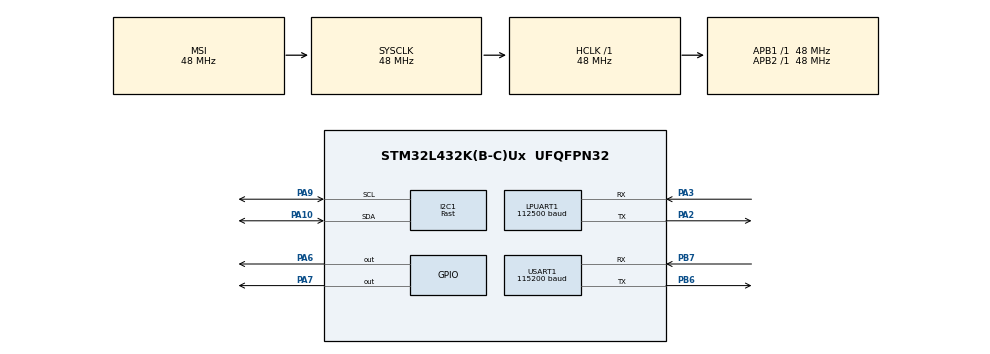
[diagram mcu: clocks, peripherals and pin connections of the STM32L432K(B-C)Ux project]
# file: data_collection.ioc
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I2C1.I2C_Speed_Mode=I2C_Fast
I2C1.Timing=0x2010091A
LPUART1.BaudRate=112500
LPUART1.WordLength=UART_WORDLENGTH_8B
Mcu.Family=STM32L4
Mcu.Name=STM32L432K(B-C)Ux
Mcu.Package=UFQFPN32
NVIC.LPUART1_IRQn=true\:0\:0\:false\:true\:true\:1\:true\:true
NVIC.PriorityGroup=NVIC_PRIORITYGROUP_4
PA0.GPIO_Label=MCO
PA0.Signal=RCC_CK_IN
PA10.Mode=I2C
PA10.Signal=I2C1_SDA
PA13\ (JTMS-SWDIO).GPIO_Label=SWDIO
PA13\ (JTMS-SWDIO).Mode=Serial_Wire
PA13\ (JTMS-SWDIO).Signal=SYS_JTMS-SWDIO
PA14\ (JTCK-SWCLK).GPIO_Label=SWCLK
PA14\ (JTCK-SWCLK).Mode=Serial_Wire
PA14\ (JTCK-SWCLK).Signal=SYS_JTCK-SWCLK
PA2.Mode=Asynchronous
PA2.Signal=LPUART1_TX
PA3.Mode=Asynchronous
PA3.Signal=LPUART1_RX
PA6.GPIO_PuPd=GPIO_PULLDOWN
PA6.PinState=GPIO_PIN_RESET
PA6.Signal=GPIO_Output
PA7.GPIO_PuPd=GPIO_PULLDOWN
PA7.PinState=GPIO_PIN_RESET
PA7.Signal=GPIO_Output
PA9.Mode=I2C
PA9.Signal=I2C1_SCL
PB6.Mode=Asynchronous
PB6.Signal=USART1_TX
PB7.Mode=Asynchronous
PB7.Signal=USART1_RX
ProjectManager.HeapSize=0x200
ProjectManager.StackSize=0x400
ProjectManager.TargetToolchain=STM32CubeIDE
RCC.ADCFreq_Value=48000000
RCC.AHBFreq_Value=48000000
RCC.APB1Freq_Value=48000000
RCC.APB1TimFreq_Value=48000000
RCC.APB2Freq_Value=48000000
RCC.APB2TimFreq_Value=48000000
RCC.CK48CLockSelection=RCC_USBCLKSOURCE_MSI
RCC.CortexFreq_Value=48000000
RCC.HCLKFreq_Value=48000000
RCC.HSE_VALUE=8000000
RCC.HSI48_VALUE=48000000
RCC.HSI_VALUE=16000000
RCC.LPTIM1CLockSelection=RCC_LPTIM1CLKSOURCE_LSE
RCC.LSE_VALUE=32768
RCC.MSIClockRange=RCC_MSIRANGE_11
RCC.MSI_VALUE=48000000
RCC.PLLM=8
RCC.PLLQ=RCC_PLLQ_DIV4
RCC.PLLSAI1N=16
RCC.PLLSAI1Q=RCC_PLLQ_DIV4
RCC.RTCClockSelection=RCC_RTCCLKSOURCE_LSE
RCC.SYSCLKFreq_VALUE=48000000
RCC.USBFreq_Value=48000000
RCC.VCOOutputFreq_Value=48000000
USART1.BaudRate=115200
USART1.VirtualMode-Asynchronous=VM_ASYNC
VP_TIM1_VS_ClockSourceINT.Mode=Internal
VP_TIM2_VS_ClockSourceINT.Mode=Internal
board=custom

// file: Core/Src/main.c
/* USER CODE BEGIN Header */
/**
  ******************************************************************************
  * @file           : main.c
  * @brief          : Main program body
  ******************************************************************************
  * @attention
  *
  * Copyright (c) 2022 STMicroelectronics.
  * All rights reserved.
  *
  * This software is licensed under terms that can be found in the LICENSE file
  * in the root directory of this software component.
  * If no LICENSE file comes with this software, it is provided AS-IS.
  *
  ******************************************************************************
  */
/* USER CODE END Header */
#include "main.h"

/* USER CODE BEGIN Includes */
#include <stdio.h>
#include <string.h>
#include "logger.h"
/* USER CODE END Includes */

/* USER CODE BEGIN PD */
#define HEAT_ON 6
#define HEAT_OFF 600
#define SIZE 3
/* USER CODE END PD */

I2C_HandleTypeDef hi2c1;

UART_HandleTypeDef hlpuart1;
UART_HandleTypeDef huart1;

TIM_HandleTypeDef htim1;
TIM_HandleTypeDef htim2;

/* USER CODE BEGIN PV */
char print_data[PRINT_DATA_SIZE];
static const uint8_t TMP117_ADDR = 0x4B << 1;
static const uint8_t BROADCAST_ADDR = 0x00 << 1;
static const uint8_t REG_TEMP = 0x00;
static const uint8_t REG_CONF = 0x01;
static uint8_t buf[SIZE];
/* USER CODE END PV */

void SystemClock_Config(void);
static void MX_GPIO_Init(void);
static void MX_LPUART1_UART_Init(void);
static void MX_USART1_UART_Init(void);
static void MX_I2C1_Init(void);
static void MX_TIM1_Init(void);
static void MX_TIM2_Init(void);
static void MX_NVIC_Init(void);

int main(void)
{
  /* USER CODE BEGIN 1 */
  HAL_StatusTypeDef ret;
  uint32_t prev_time;
  uint32_t idx;
  int16_t val;
  int8_t heater;
  float temp_c;
  /* USER CODE END 1 */

  /* MCU Configuration--------------------------------------------------------*/

  /* Reset of all peripherals, Initializes the Flash interface and the Systick. */
  HAL_Init();

  /* Configure the system clock */
  SystemClock_Config();

  /* Initialize all configured peripherals */
  MX_GPIO_Init();
  MX_LPUART1_UART_Init();
  MX_USART1_UART_Init();
  MX_I2C1_Init();
  MX_TIM1_Init();
  MX_TIM2_Init();

  /* Initialize interrupts */
  MX_NVIC_Init();
  /* USER CODE BEGIN 2 */
  buf[0] = REG_CONF;
  buf[1] = 0x00;
  buf[2] = 0x00;
  ret = HAL_I2C_Master_Transmit(&hi2c1, TMP117_ADDR, buf, 3, HAL_MAX_DELAY);
  if (ret != HAL_OK) {
    log_info("%s","I2C Failed");
  }
  log_info("%s",(char*)buf);
  HAL_Delay(1000);
  /* USER CODE END 2 */

  /* Infinite loop */
  /* USER CODE BEGIN WHILE */
  HAL_GPIO_WritePin(GPIOA, GPIO_PIN_6, GPIO_PIN_RESET);
  HAL_GPIO_WritePin(GPIOA, GPIO_PIN_7, GPIO_PIN_RESET);
  idx = 0;
  while (1)
  {
		if(idx == 1){
			heater = 100;
			HAL_GPIO_WritePin(GPIOA, GPIO_PIN_7, GPIO_PIN_SET);
		}
		else if (idx == HEAT_ON+1){
			heater = 0;
			HAL_GPIO_WritePin(GPIOA, GPIO_PIN_7, GPIO_PIN_RESET);
		}
		else if (idx == HEAT_OFF+HEAT_ON+1){
			idx = 0;
		}
		idx++;
		prev_time = HAL_GetTick();
		buf[0] = REG_TEMP;
		ret = HAL_I2C_Master_Transmit(&hi2c1, TMP117_ADDR, buf, 1, HAL_MAX_DELAY);
		if (ret != HAL_OK) {
		    log_info("%s","I2C Failed");
		}
		else{
			ret = HAL_I2C_Master_Receive(&hi2c1, TMP117_ADDR, buf, 2, HAL_MAX_DELAY);
			if (ret != HAL_OK) {
			    log_info("%s","I2C Failed");
			}
			else{
				val = (int16_t)(buf[0] << 8| buf[1]);
				temp_c = val * 0.0078125;
				for(int i=0; i<SIZE; i++){
					buf[i] = 0;
				}
				log_info("%lu %.2f %d",(uint32_t)prev_time,temp_c, heater);
			}
		}
		while(HAL_GetTick()-prev_time < 20);
    /* USER CODE END WHILE */
  }
}

void SystemClock_Config(void)
{
  RCC_OscInitTypeDef RCC_OscInitStruct = {0};
  RCC_ClkInitTypeDef RCC_ClkInitStruct = {0};

  /** Configure the main internal regulator output voltage
  */
  if (HAL_PWREx_ControlVoltageScaling(PWR_REGULATOR_VOLTAGE_SCALE1) != HAL_OK)
  {
    Error_Handler();
  }
  /** Initializes the RCC Oscillators according to the specified parameters
  * in the RCC_OscInitTypeDef structure.
  */
  RCC_OscInitStruct.OscillatorType = RCC_OSCILLATORTYPE_MSI;
  RCC_OscInitStruct.MSIState = RCC_MSI_ON;
  RCC_OscInitStruct.MSICalibrationValue = 0;
  RCC_OscInitStruct.MSIClockRange = RCC_MSIRANGE_11;
  RCC_OscInitStruct.PLL.PLLState = RCC_PLL_NONE;
  if (HAL_RCC_OscConfig(&RCC_OscInitStruct) != HAL_OK)
  {
    Error_Handler();
  }
  /** Initializes the CPU, AHB and APB buses clocks
  */
  RCC_ClkInitStruct.ClockType = RCC_CLOCKTYPE_HCLK|RCC_CLOCKTYPE_SYSCLK
                              |RCC_CLOCKTYPE_PCLK1|RCC_CLOCKTYPE_PCLK2;
  RCC_ClkInitStruct.SYSCLKSource = RCC_SYSCLKSOURCE_MSI;
  RCC_ClkInitStruct.AHBCLKDivider = RCC_SYSCLK_DIV1;
  RCC_ClkInitStruct.APB1CLKDivider = RCC_HCLK_DIV1;
  RCC_ClkInitStruct.APB2CLKDivider = RCC_HCLK_DIV1;

  if (HAL_RCC_ClockConfig(&RCC_ClkInitStruct, FLASH_LATENCY_2) != HAL_OK)
  {
    Error_Handler();
  }
}

/**
  * @brief NVIC Configuration.
  * @retval None
  */
static void MX_NVIC_Init(void)
{
  /* LPUART1_IRQn interrupt configuration */
  HAL_NVIC_SetPriority(LPUART1_IRQn, 0, 0);
  HAL_NVIC_EnableIRQ(LPUART1_IRQn);
}

static void MX_I2C1_Init(void)
{

  hi2c1.Instance = I2C1;
  hi2c1.Init.Timing = 0x2010091A;
  hi2c1.Init.OwnAddress1 = 0;
  hi2c1.Init.AddressingMode = I2C_ADDRESSINGMODE_7BIT;
  hi2c1.Init.DualAddressMode = I2C_DUALADDRESS_DISABLE;
  hi2c1.Init.OwnAddress2 = 0;
  hi2c1.Init.OwnAddress2Masks = I2C_OA2_NOMASK;
  hi2c1.Init.GeneralCallMode = I2C_GENERALCALL_DISABLE;
  hi2c1.Init.NoStretchMode = I2C_NOSTRETCH_DISABLE;
  if (HAL_I2C_Init(&hi2c1) != HAL_OK)
  {
    Error_Handler();
  }
  /** Configure Analogue filter
  */
  if (HAL_I2CEx_ConfigAnalogFilter(&hi2c1, I2C_ANALOGFILTER_ENABLE) != HAL_OK)
  {
    Error_Handler();
  }
  /** Configure Digital filter
  */
  if (HAL_I2CEx_ConfigDigitalFilter(&hi2c1, 0) != HAL_OK)
  {
    Error_Handler();
  }

}

static void MX_LPUART1_UART_Init(void)
{

  hlpuart1.Instance = LPUART1;
  hlpuart1.Init.BaudRate = 112500;
  hlpuart1.Init.WordLength = UART_WORDLENGTH_8B;
  hlpuart1.Init.StopBits = UART_STOPBITS_1;
  hlpuart1.Init.Parity = UART_PARITY_NONE;
  hlpuart1.Init.Mode = UART_MODE_TX_RX;
  hlpuart1.Init.HwFlowCtl = UART_HWCONTROL_NONE;
  hlpuart1.Init.OneBitSampling = UART_ONE_BIT_SAMPLE_DISABLE;
  hlpuart1.AdvancedInit.AdvFeatureInit = UART_ADVFEATURE_NO_INIT;
  if (HAL_UART_Init(&hlpuart1) != HAL_OK)
  {
    Error_Handler();
  }

}

static void MX_USART1_UART_Init(void)
{

  huart1.Instance = USART1;
  huart1.Init.BaudRate = 115200;
  huart1.Init.WordLength = UART_WORDLENGTH_8B;
  huart1.Init.StopBits = UART_STOPBITS_1;
  huart1.Init.Parity = UART_PARITY_NONE;
  huart1.Init.Mode = UART_MODE_TX_RX;
  huart1.Init.HwFlowCtl = UART_HWCONTROL_NONE;
  huart1.Init.OverSampling = UART_OVERSAMPLING_16;
  huart1.Init.OneBitSampling = UART_ONE_BIT_SAMPLE_DISABLE;
  huart1.AdvancedInit.AdvFeatureInit = UART_ADVFEATURE_NO_INIT;
  if (HAL_UART_Init(&huart1) != HAL_OK)
  {
    Error_Handler();
  }

}

static void MX_TIM1_Init(void)
{

  TIM_ClockConfigTypeDef sClockSourceConfig = {0};
  TIM_MasterConfigTypeDef sMasterConfig = {0};

  htim1.Instance = TIM1;
  htim1.Init.Prescaler = 0;
  htim1.Init.CounterMode = TIM_COUNTERMODE_UP;
  htim1.Init.Period = 65535;
  htim1.Init.ClockDivision = TIM_CLOCKDIVISION_DIV1;
  htim1.Init.RepetitionCounter = 0;
  htim1.Init.AutoReloadPreload = TIM_AUTORELOAD_PRELOAD_DISABLE;
  if (HAL_TIM_Base_Init(&htim1) != HAL_OK)
  {
    Error_Handler();
  }
  sClockSourceConfig.ClockSource = TIM_CLOCKSOURCE_INTERNAL;
  if (HAL_TIM_ConfigClockSource(&htim1, &sClockSourceConfig) != HAL_OK)
  {
    Error_Handler();
  }
  sMasterConfig.MasterOutputTrigger = TIM_TRGO_RESET;
  sMasterConfig.MasterOutputTrigger2 = TIM_TRGO2_RESET;
  sMasterConfig.MasterSlaveMode = TIM_MASTERSLAVEMODE_DISABLE;
  if (HAL_TIMEx_MasterConfigSynchronization(&htim1, &sMasterConfig) != HAL_OK)
  {
    Error_Handler();
  }

}

static void MX_TIM2_Init(void)
{

  TIM_ClockConfigTypeDef sClockSourceConfig = {0};
  TIM_MasterConfigTypeDef sMasterConfig = {0};

  htim2.Instance = TIM2;
  htim2.Init.Prescaler = 0;
  htim2.Init.CounterMode = TIM_COUNTERMODE_UP;
  htim2.Init.Period = 4294967295;
  htim2.Init.ClockDivision = TIM_CLOCKDIVISION_DIV1;
  htim2.Init.AutoReloadPreload = TIM_AUTORELOAD_PRELOAD_DISABLE;
  if (HAL_TIM_Base_Init(&htim2) != HAL_OK)
  {
    Error_Handler();
  }
  sClockSourceConfig.ClockSource = TIM_CLOCKSOURCE_INTERNAL;
  if (HAL_TIM_ConfigClockSource(&htim2, &sClockSourceConfig) != HAL_OK)
  {
    Error_Handler();
  }
  sMasterConfig.MasterOutputTrigger = TIM_TRGO_RESET;
  sMasterConfig.MasterSlaveMode = TIM_MASTERSLAVEMODE_DISABLE;
  if (HAL_TIMEx_MasterConfigSynchronization(&htim2, &sMasterConfig) != HAL_OK)
  {
    Error_Handler();
  }

}

static void MX_GPIO_Init(void)
{
  GPIO_InitTypeDef GPIO_InitStruct = {0};

  /* GPIO Ports Clock Enable */
  __HAL_RCC_GPIOA_CLK_ENABLE();
  __HAL_RCC_GPIOB_CLK_ENABLE();

  /*Configure GPIO pin Output Level */
  HAL_GPIO_WritePin(GPIOA, GPIO_PIN_6|GPIO_PIN_7, GPIO_PIN_RESET);

  /*Configure GPIO pins : PA6 PA7 */
  GPIO_InitStruct.Pin = GPIO_PIN_6|GPIO_PIN_7;
  GPIO_InitStruct.Mode = GPIO_MODE_OUTPUT_PP;
  GPIO_InitStruct.Pull = GPIO_PULLDOWN;
  GPIO_InitStruct.Speed = GPIO_SPEED_FREQ_LOW;
  HAL_GPIO_Init(GPIOA, &GPIO_InitStruct);

}

void Error_Handler(void)
{
  __disable_irq();
  while (1)
  {
  }
}
